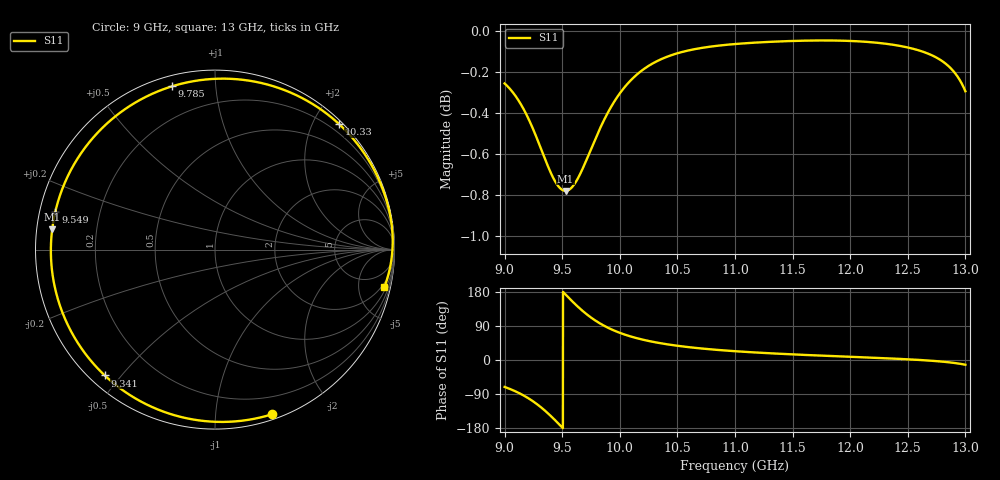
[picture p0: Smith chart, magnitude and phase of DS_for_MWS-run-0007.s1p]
! TOUCHSTONE file generated by CST DESIGN STUDIO
! Date and time: Tue Feb  4 12:57:27 2025
! Project name: C:\Work\MatlabApps\UnitCellOptimizationMatlab\CST\unitcell.cst
! Tree item: Tasks\Sweep1\SPara1\S-Parameters
! Header version: 2024
! Port assignment regex: !\s*Touchstone port\s*([0-9]+)\s*=\s*(CST MWS port|CST DES external port|CST DES block port)\s*(.+)\s* \(\"(.*)\"\)(\s*mode\s*([0-9]+))?.*
! Touchstone port assignment:
! Touchstone port 1 = CST DES external port 1 ("")
# GHz S MA R 50
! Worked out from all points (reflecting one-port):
!   4001 points, 9 GHz to 13 GHz, reference 50 ohm
!   lowest |S11| = -0.8 dB at 9.529 GHz (marker M1), VSWR 22.30, Z = 2.25 + j3.12 ohm
!   phase of S11 starts at -71 deg and turns -301 deg over the sweep
!   S11 on the Smith chart (normalised r, x): 9 GHz: 0.04, -1.40; 9.341 GHz: 0.04, -0.45; 9.549 GHz: 0.05, +0.12; 9.785 GHz: 0.05, +0.77; 10.33 GHz: 0.06, +2.40; 13 GHz: 1.40, -8.90
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9  0.9708 -71.1
9.094  0.9641 -82.7
9.199  0.9529 -99.6
9.273  0.9425 -114.7
9.341  0.9321 -131.2
9.383  0.9259 -142.6
9.428  0.9202 -155.7
9.465  0.9167 -167.1
9.5  0.9147 -178.0
9.529  0.9142 172.8
9.549  0.9144 166.6
9.603  0.9174 150.2
9.668  0.9244 131.9
9.725  0.9322 117.7
9.785  0.9408 104.7
9.878  0.9529 88.1
10  0.9654 71.7
10.073  0.9711 64.1
10.152  0.9759 57.2
10.334  0.9833 45.3
10.5  0.9873 37.6
10.721  0.9904 30.0
11  0.9925 23.2
11.5  0.9942 14.8
12  0.9942 8.5
12.5  0.9905 1.8
12.796  0.9831 -4.2
13  0.9666 -12.5
